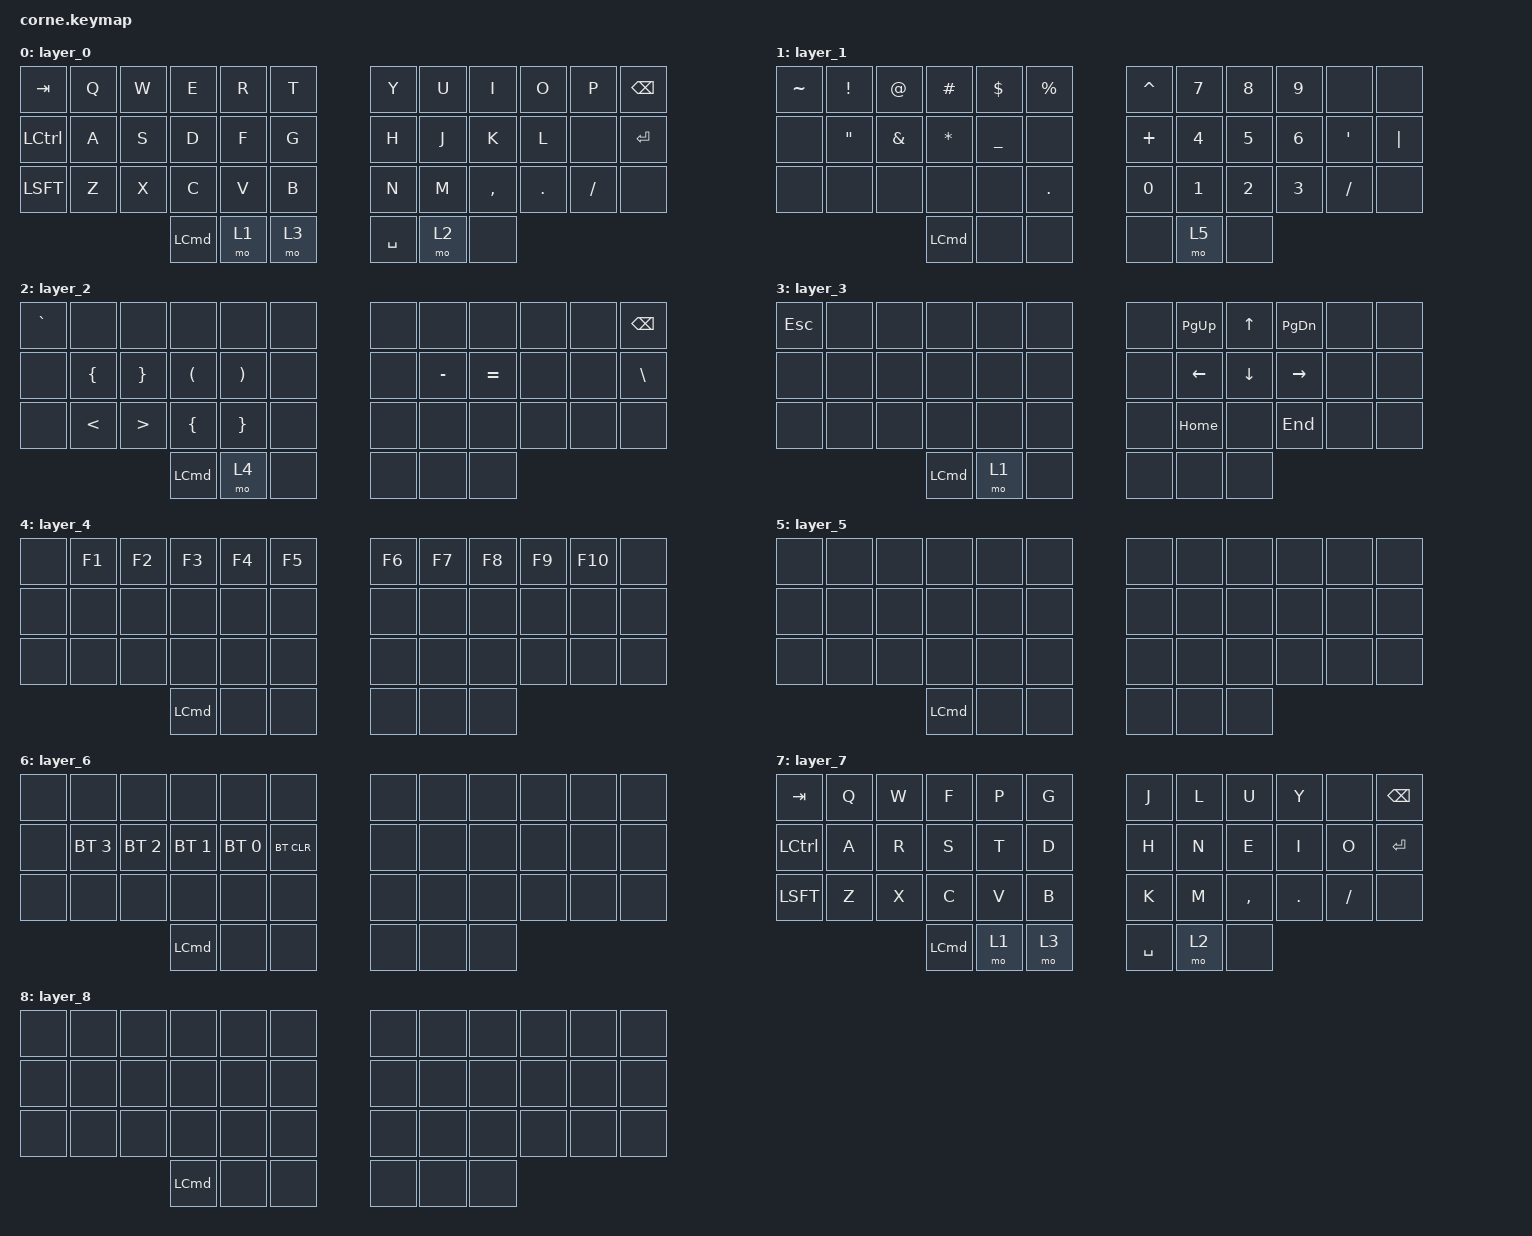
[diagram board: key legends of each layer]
/*
 * Copyright (c) 2020 The ZMK Contributors
 *
 * SPDX-License-Identifier: MIT
 */

#include <behaviors.dtsi>
#include <dt-bindings/zmk/keys.h>
#include <dt-bindings/zmk/bt.h>

/ {
        keymap {
                compatible = "zmk,keymap";

                layer_0 {
                        bindings = <
                        &kp TAB   &kp Q     &kp W     &kp E     &kp R     &kp T     &kp Y     &kp U     &kp I     &kp O     &kp P     &kp BSPC 
                        &kp LCTL  &kp A     &kp S     &kp D     &kp F     &kp G     &kp H     &kp J     &kp K     &kp L     &none     &kp RET  
                        &kp LSFT  &kp Z     &kp X     &kp C     &kp V     &kp B     &kp N     &kp M     &kp COMMA &kp DOT   &kp SLASH &none    
                                                      &kp LCMD  &mo 1     &mo 3     &kp SPACE &mo 2     &none
                        >;
                };
                layer_1 {
                        bindings = <
                        &kp TILDE &kp EXCL  &kp AT         &kp HASH      &kp DOLLAR      &kp PERCENT &kp CARET &kp 7     &kp 8     &kp 9     &none     &none    
                        &none     &kp DQT   &kp AMPERSAND  &kp ASTERISK  &kp UNDERSCORE  &none       &kp PLUS  &kp 4     &kp 5     &kp 6     &kp QUOT  &kp PIPE 
                        &none     &none     &none          &none         &none           &kp DOT     &kp 0     &kp 1     &kp 2     &kp 3     &kp SLASH &none    
                                                           &kp LCMD      &none           &none       &none     &mo 5     &none
                        >;
                };
                layer_2 {
                        bindings = <
                        &kp GRAVE &none     &none     &none     &none     &none     &none     &none     &none     &none     &none     &kp BSPC 
                        &none     &kp LBRC  &kp RBRC  &kp LPRN  &kp RPRN  &none     &none     &kp MINUS &kp EQUAL &none     &none     &kp BACKSLASH
                        &none     &kp LT    &kp GT    &kp LBRC  &kp RBRC  &none     &none     &none     &none     &none     &none     &none    
                                                      &kp LCMD  &mo 4     &none     &none     &none     &none
                        >;
                };
                layer_3 {
                        bindings = <
                        &kp ESC   &none     &none     &none     &none     &none     &none     &kp PG_UP &kp UP    &kp PG_DN &none     &none    
                        &none     &none     &none     &none     &none     &none     &none     &kp LEFT  &kp DOWN  &kp RIGHT &none     &none    
                        &none     &none     &none     &none     &none     &none     &none     &kp HOME  &none     &kp END   &none     &none    
                                                      &kp LCMD  &mo 1     &none     &none     &none     &none
                        >;
                };
                layer_4 {
                        bindings = <
                        &none     &kp F1    &kp F2    &kp F3    &kp F4    &kp F5    &kp F6    &kp F7    &kp F8    &kp F9    &kp F10   &none    
                        &none     &none     &none     &none     &none     &none     &none     &none     &none     &none     &none     &none    
                        &none     &none     &none     &none     &none     &none     &none     &none     &none     &none     &none     &none    
                                                      &kp LCMD  &none     &none     &none     &none     &none
                        >;
                };
                layer_5 {
                        bindings = <
                        &none     &none     &none     &none     &none     &none     &none     &none     &none     &none     &none     &none    
                        &none     &none     &none     &none     &none     &none     &none     &none     &none     &none     &none     &none    
                        &none     &none     &none     &none     &none     &none     &none     &none     &none     &none     &none     &none    
                                                      &kp LCMD  &none     &none     &none     &none     &none
                        >;
                };
                layer_6 {
                        bindings = <
                        &none     &none        &none        &none        &none        &none      &none     &none     &none     &none     &none     &none    
                        &none     &bt BT_SEL 3 &bt BT_SEL 2 &bt BT_SEL 1 &bt BT_SEL 0 &bt BT_CLR &none     &none     &none     &none     &none     &none    
                        &none     &none        &none        &none        &none        &none      &none     &none     &none     &none     &none     &none    
                                                            &kp LCMD     &none        &none      &none     &none     &none
                        >;
                };
                layer_7 {
                        bindings = <
                        &kp TAB   &kp Q     &kp W     &kp F     &kp P     &kp G     &kp J     &kp L     &kp U     &kp Y     &none     &kp BSPC 
                        &kp LCTL  &kp A     &kp R     &kp S     &kp T     &kp D     &kp H     &kp N     &kp E     &kp I     &kp O     &kp RET
                        &kp LSFT  &kp Z     &kp X     &kp C     &kp V     &kp B     &kp K     &kp M     &kp COMMA &kp DOT   &kp SLASH &none    
                                                      &kp LCMD  &mo 1     &mo 3     &kp SPACE &mo 2     &none
                        >;
                };
                layer_8 {
                        bindings = <
                        &none     &none     &none     &none     &none     &none     &none     &none     &none     &none     &none     &none    
                        &none     &none     &none     &none     &none     &none     &none     &none     &none     &none     &none     &none    
                        &none     &none     &none     &none     &none     &none     &none     &none     &none     &none     &none     &none    
                                                      &kp LCMD  &none     &none     &none     &none     &none
                        >;
                };
        };
};
